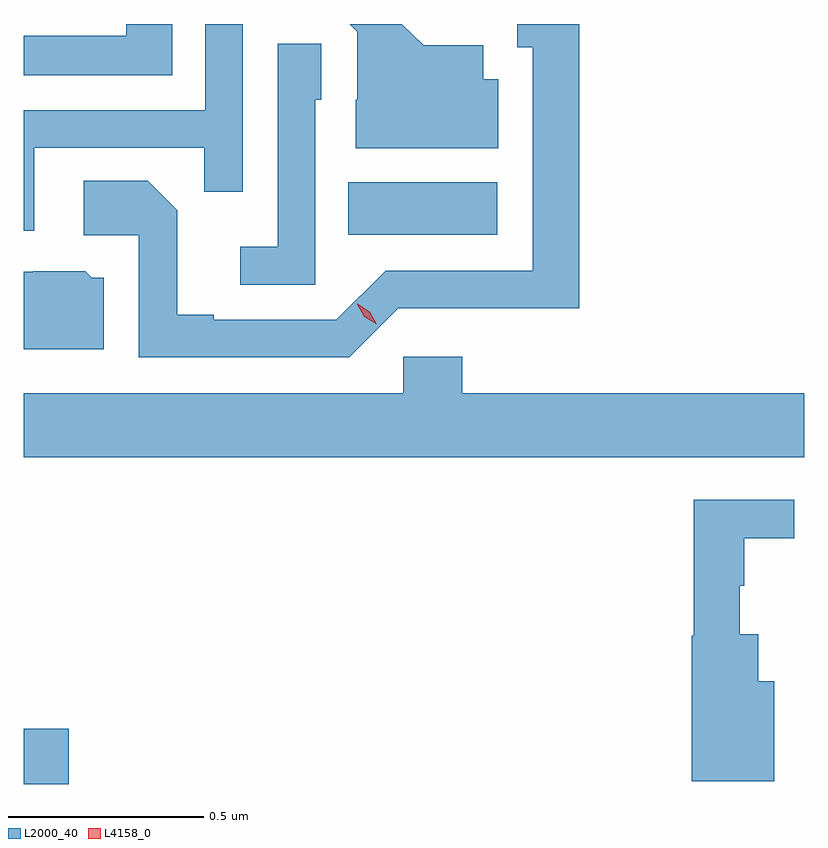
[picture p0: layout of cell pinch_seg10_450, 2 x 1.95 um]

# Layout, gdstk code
import gdstk
lib = gdstk.Library(unit=1e-6, precision=1e-09)
def R(c, l, rs):  # rectangles x0, y0, x1, y1
    for r in rs: c.add(gdstk.rectangle(r[:2], r[2:], *l))
def P(c, l, *ps):  # polygons
    for p in ps: c.add(gdstk.Polygon(p, *l))
L2000_40 = (2000, 40)
L4158_0 = (4158, 0)

pinch_seg10_450 = lib.new_cell('pinch_seg10_450')
R(pinch_seg10_450, L2000_40, [(365.418,1319.458,365.533,1319.6), (366.25,1320.866,366.631,1321)])
P(pinch_seg10_450, L2000_40, [(365.798,1321.406),(365.68,1321.406),(365.68,1321.376),(365.418,1321.376),(365.418,1321.275),(365.798,1321.275)],
  [(366.378,1320.678),(366.6,1320.678),(366.6,1320.677),(366.841,1320.677),(366.841,1321.406),(366.683,1321.406),(366.683,1321.347),(366.722,1321.347),(366.722,1320.774),(366.345,1320.774),(366.219,1320.648),(365.905,1320.648),(365.905,1320.661),(365.811,1320.661),(365.811,1320.928),(365.735,1321.004),(365.571,1321.004),(365.571,1320.864),(365.712,1320.864),(365.712,1320.552),(366.252,1320.552)],
  [(365.445,1321.089),(365.881,1321.089),(365.881,1320.976),(365.979,1320.976),(365.979,1321.406),(365.883,1321.406),(365.883,1321.185),(365.418,1321.185),(365.418,1320.876),(365.445,1320.876)],
  [(366.634,1321.264),(366.595,1321.264),(366.595,1321.351),(366.443,1321.351),(366.387,1321.406),(366.253,1321.406),(366.273,1321.386),(366.273,1321.212),(366.269,1321.212),(366.269,1321.088),(366.634,1321.088)],
  [(366.165,1321.212),(366.18,1321.212),(366.18,1321.355),(366.069,1321.355),(366.069,1320.835),(365.973,1320.835),(365.973,1320.738),(366.165,1320.738)],
  [(365.623,1320.756),(365.592,1320.756),(365.576,1320.772),(365.442,1320.772),(365.442,1320.771),(365.418,1320.771),(365.418,1320.572),(365.623,1320.572)],
  [(366.39,1320.553),(366.39,1320.46),(365.418,1320.46),(365.418,1320.296),(367.418,1320.296),(367.418,1320.46),(366.542,1320.46),(366.542,1320.553)],
  [(367.342,1319.722),(367.3,1319.722),(367.3,1319.842),(367.253,1319.842),(367.253,1319.966),(367.264,1319.966),(367.264,1320.088),(367.393,1320.088),(367.393,1320.186),(367.135,1320.186),(367.135,1319.838),(367.13,1319.838),(367.13,1319.465),(367.342,1319.465)])
P(pinch_seg10_450, L4158_0, [(366.322,1320.637),(366.29,1320.656),(366.273,1320.688),(366.273,1320.689),(366.274,1320.689),(366.305,1320.669),(366.322,1320.637),(366.322,1320.637)])

lib.write_gds('pinch_seg10_450.gds')
